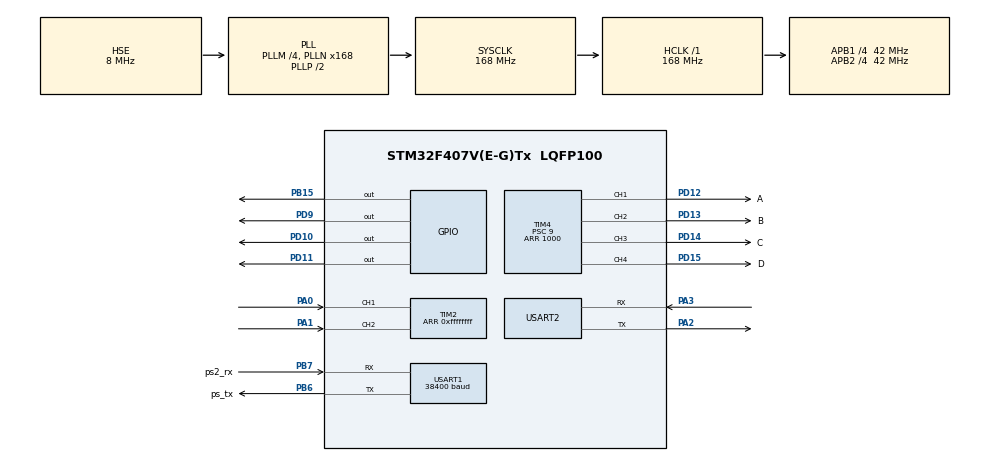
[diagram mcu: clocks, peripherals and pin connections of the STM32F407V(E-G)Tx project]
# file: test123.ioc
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Dma.Request0=USART2_RX
Dma.Request1=USART1_RX
Dma.USART1_RX.1.Direction=DMA_PERIPH_TO_MEMORY
Dma.USART1_RX.1.FIFOMode=DMA_FIFOMODE_DISABLE
Dma.USART1_RX.1.Instance=DMA2_Stream2
Dma.USART1_RX.1.MemDataAlignment=DMA_MDATAALIGN_BYTE
Dma.USART1_RX.1.MemInc=DMA_MINC_ENABLE
Dma.USART1_RX.1.Mode=DMA_CIRCULAR
Dma.USART1_RX.1.PeriphDataAlignment=DMA_PDATAALIGN_BYTE
Dma.USART1_RX.1.PeriphInc=DMA_PINC_DISABLE
Dma.USART1_RX.1.Priority=DMA_PRIORITY_LOW
Dma.USART2_RX.0.Direction=DMA_PERIPH_TO_MEMORY
Dma.USART2_RX.0.FIFOMode=DMA_FIFOMODE_DISABLE
Dma.USART2_RX.0.Instance=DMA1_Stream5
Dma.USART2_RX.0.MemDataAlignment=DMA_MDATAALIGN_BYTE
Dma.USART2_RX.0.MemInc=DMA_MINC_ENABLE
Dma.USART2_RX.0.Mode=DMA_CIRCULAR
Dma.USART2_RX.0.PeriphDataAlignment=DMA_PDATAALIGN_BYTE
Dma.USART2_RX.0.PeriphInc=DMA_PINC_DISABLE
Dma.USART2_RX.0.Priority=DMA_PRIORITY_LOW
Mcu.Family=STM32F4
Mcu.Name=STM32F407V(E-G)Tx
Mcu.Package=LQFP100
NVIC.DMA1_Stream5_IRQn=true\:0\:0\:false\:false\:true\:true
NVIC.DMA2_Stream2_IRQn=true\:0\:0\:false\:false\:true\:false
NVIC.PriorityGroup=NVIC_PRIORITYGROUP_4
NVIC.TIM6_DAC_IRQn=true\:0\:0\:false\:false\:true\:true
NVIC.USART1_IRQn=true\:0\:0\:false\:false\:true\:true
NVIC.USART2_IRQn=true\:0\:0\:false\:false\:true\:true
PA0-WKUP.GPIO_ModeDefaultPP=GPIO_MODE_AF_PP
PA0-WKUP.GPIO_PuPd=GPIO_PULLUP
PA0-WKUP.GPIO_Speed=GPIO_SPEED_FREQ_HIGH
PA0-WKUP.Signal=S_TIM2_CH1_ETR
PA1.GPIO_ModeDefaultPP=GPIO_MODE_AF_PP
PA1.GPIO_PuPd=GPIO_PULLUP
PA1.GPIO_Speed=GPIO_SPEED_FREQ_HIGH
PA1.Signal=S_TIM2_CH2
PA13.Mode=Serial_Wire
PA13.Signal=SYS_JTMS-SWDIO
PA14.Mode=Serial_Wire
PA14.Signal=SYS_JTCK-SWCLK
PA2.Mode=Asynchronous
PA2.Signal=USART2_TX
PA3.Mode=Asynchronous
PA3.Signal=USART2_RX
PB15.GPIO_ModeDefaultOutputPP=GPIO_MODE_OUTPUT_PP
PB15.GPIO_PuPd=GPIO_NOPULL
PB15.GPIO_Speed=GPIO_SPEED_FREQ_HIGH
PB15.PinState=GPIO_PIN_RESET
PB15.Signal=GPIO_Output
PB6.GPIO_Label=ps_tx
PB6.GPIO_Mode=GPIO_MODE_AF_PP
PB6.GPIO_PuPd=GPIO_PULLUP
PB6.GPIO_Speed=GPIO_SPEED_FREQ_VERY_HIGH
PB6.Mode=Asynchronous
PB6.Signal=USART1_TX
PB7.GPIO_Label=ps2_rx
PB7.GPIO_Mode=GPIO_MODE_AF_PP
PB7.GPIO_PuPd=GPIO_PULLUP
PB7.GPIO_Speed=GPIO_SPEED_FREQ_VERY_HIGH
PB7.Mode=Asynchronous
PB7.Signal=USART1_RX
PD10.GPIO_ModeDefaultOutputPP=GPIO_MODE_OUTPUT_PP
PD10.GPIO_PuPd=GPIO_NOPULL
PD10.GPIO_Speed=GPIO_SPEED_FREQ_HIGH
PD10.PinState=GPIO_PIN_RESET
PD10.Signal=GPIO_Output
PD11.GPIO_ModeDefaultOutputPP=GPIO_MODE_OUTPUT_PP
PD11.GPIO_PuPd=GPIO_NOPULL
PD11.GPIO_Speed=GPIO_SPEED_FREQ_HIGH
PD11.PinState=GPIO_PIN_RESET
PD11.Signal=GPIO_Output
PD12.GPIO_Label=A
PD12.GPIO_ModeDefaultPP=GPIO_MODE_AF_PP
PD12.GPIO_PuPd=GPIO_NOPULL
PD12.GPIO_Speed=GPIO_SPEED_FREQ_HIGH
PD12.Signal=S_TIM4_CH1
PD13.GPIO_Label=B
PD13.GPIO_ModeDefaultPP=GPIO_MODE_AF_PP
PD13.GPIO_PuPd=GPIO_NOPULL
PD13.GPIO_Speed=GPIO_SPEED_FREQ_HIGH
PD13.Signal=S_TIM4_CH2
PD14.GPIO_Label=C
PD14.GPIO_ModeDefaultPP=GPIO_MODE_AF_PP
PD14.GPIO_PuPd=GPIO_NOPULL
PD14.GPIO_Speed=GPIO_SPEED_FREQ_HIGH
PD14.Signal=S_TIM4_CH3
PD15.GPIO_Label=D
PD15.GPIO_ModeDefaultPP=GPIO_MODE_AF_PP
PD15.GPIO_PuPd=GPIO_NOPULL
PD15.GPIO_Speed=GPIO_SPEED_FREQ_HIGH
PD15.Signal=S_TIM4_CH4
PD9.GPIO_ModeDefaultOutputPP=GPIO_MODE_OUTPUT_PP
PD9.GPIO_PuPd=GPIO_NOPULL
PD9.GPIO_Speed=GPIO_SPEED_FREQ_HIGH
PD9.PinState=GPIO_PIN_RESET
PD9.Signal=GPIO_Output
PH0-OSC_IN.Mode=HSE-External-Oscillator
PH0-OSC_IN.Signal=RCC_OSC_IN
PH1-OSC_OUT.Mode=HSE-External-Oscillator
PH1-OSC_OUT.Signal=RCC_OSC_OUT
ProjectManager.HeapSize=0x200
ProjectManager.StackSize=0x400
ProjectManager.TargetToolchain=EWARM V7
RCC.48MHZClocksFreq_Value=84000000
RCC.AHBFreq_Value=168000000
RCC.APB1CLKDivider=RCC_HCLK_DIV4
RCC.APB1Freq_Value=42000000
RCC.APB1TimFreq_Value=84000000
RCC.APB2CLKDivider=RCC_HCLK_DIV4
RCC.APB2Freq_Value=42000000
RCC.APB2TimFreq_Value=84000000
RCC.CortexFreq_Value=168000000
RCC.HCLKFreq_Value=168000000
RCC.HSE_VALUE=8000000
RCC.HSI_VALUE=16000000
RCC.LSE_VALUE=8000
RCC.PLLM=4
RCC.PLLN=168
RCC.PLLSourceVirtual=RCC_PLLSOURCE_HSE
RCC.SYSCLKFreq_VALUE=168000000
RCC.SYSCLKSource=RCC_SYSCLKSOURCE_PLLCLK
RCC.VCOOutputFreq_Value=336000000
SH.S_TIM2_CH1_ETR.0=TIM2_CH1,Encoder_Interface
SH.S_TIM2_CH2.0=TIM2_CH2,Encoder_Interface
SH.S_TIM4_CH1.0=TIM4_CH1,PWM Generation1 CH1
SH.S_TIM4_CH2.0=TIM4_CH2,PWM Generation2 CH2
SH.S_TIM4_CH3.0=TIM4_CH3,PWM Generation3 CH3
SH.S_TIM4_CH4.0=TIM4_CH4,PWM Generation4 CH4
TIM2.EncoderMode=TIM_ENCODERMODE_TI12
TIM2.IC1Filter=5
TIM2.IC2Filter=5
TIM2.Period=0xffffffff
TIM4.Channel-PWM\ Generation1\ CH1=TIM_CHANNEL_1
TIM4.Channel-PWM\ Generation2\ CH2=TIM_CHANNEL_2
TIM4.Channel-PWM\ Generation3\ CH3=TIM_CHANNEL_3
TIM4.Channel-PWM\ Generation4\ CH4=TIM_CHANNEL_4
TIM4.Period=1000
TIM4.Prescaler=9
TIM6.Period=999
TIM6.Prescaler=84
USART1.BaudRate=38400
USART1.VirtualMode=VM_ASYNC
USART2.VirtualMode=VM_ASYNC
VP_TIM4_VS_ClockSourceINT.Mode=Internal
VP_TIM6_VS_ClockSourceINT.Mode=Enable_Timer
board=test123

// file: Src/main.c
/**
  ******************************************************************************
  * @file           : main.c
  * @brief          : Main program body
  ******************************************************************************
  ** This notice applies to any and all portions of this file
  * that are not between comment pairs USER CODE BEGIN and
  * USER CODE END. Other portions of this file, whether
  * inserted by the user or by software development tools
  * are owned by their respective copyright owners.
  *
  * COPYRIGHT(c) 2018 STMicroelectronics
  *
  * Redistribution and use in source and binary forms, with or without modification,
  * are permitted provided that the following conditions are met:
  *   1. Redistributions of source code must retain the above copyright notice,
  *      this list of conditions and the following disclaimer.
  *   2. Redistributions in binary form must reproduce the above copyright notice,
  *      this list of conditions and the following disclaimer in the documentation
  *      and/or other materials provided with the distribution.
  *   3. Neither the name of STMicroelectronics nor the names of its contributors
  *      may be used to endorse or promote products derived from this software
  *      without specific prior written permission.
  *
  * THIS SOFTWARE IS PROVIDED BY THE COPYRIGHT HOLDERS AND CONTRIBUTORS "AS IS"
  * AND ANY EXPRESS OR IMPLIED WARRANTIES, INCLUDING, BUT NOT LIMITED TO, THE
  * IMPLIED WARRANTIES OF MERCHANTABILITY AND FITNESS FOR A PARTICULAR PURPOSE ARE
  * DISCLAIMED. IN NO EVENT SHALL THE COPYRIGHT HOLDER OR CONTRIBUTORS BE LIABLE
  * FOR ANY DIRECT, INDIRECT, INCIDENTAL, SPECIAL, EXEMPLARY, OR CONSEQUENTIAL
  * DAMAGES (INCLUDING, BUT NOT LIMITED TO, PROCUREMENT OF SUBSTITUTE GOODS OR
  * SERVICES; LOSS OF USE, DATA, OR PROFITS; OR BUSINESS INTERRUPTION) HOWEVER
  * CAUSED AND ON ANY THEORY OF LIABILITY, WHETHER IN CONTRACT, STRICT LIABILITY,
  * OR TORT (INCLUDING NEGLIGENCE OR OTHERWISE) ARISING IN ANY WAY OUT OF THE USE
  * OF THIS SOFTWARE, EVEN IF ADVISED OF THE POSSIBILITY OF SUCH DAMAGE.
  *
  ******************************************************************************
  */
#include "main.h"
#include "stm32f4xx_hal.h"

/* USER CODE BEGIN Includes */

#include "robot_4_wheel.h"
#include "PS2.h"
extern robot_4_wheel robot;
extern PS2_stat ps2;
/* USER CODE END Includes */

TIM_HandleTypeDef htim2;
TIM_HandleTypeDef htim4;
TIM_HandleTypeDef htim6;

UART_HandleTypeDef huart1;
UART_HandleTypeDef huart2;
DMA_HandleTypeDef hdma_usart1_rx;
DMA_HandleTypeDef hdma_usart2_rx;

/* USER CODE BEGIN PV */
/* Private variables ---------------------------------------------------------*/
int16_t x;
/* USER CODE END PV */

void SystemClock_Config(void);
static void MX_GPIO_Init(void);
static void MX_DMA_Init(void);
static void MX_TIM2_Init(void);
static void MX_TIM4_Init(void);
static void MX_TIM6_Init(void);
static void MX_USART2_UART_Init(void);
static void MX_USART1_UART_Init(void);

void HAL_TIM_MspPostInit(TIM_HandleTypeDef *htim);

/* USER CODE BEGIN PFP */
/* Private function prototypes -----------------------------------------------*/

/* USER CODE END PFP */

int main(void)
{

  /* MCU Configuration----------------------------------------------------------*/

  /* Reset of all peripherals, Initializes the Flash interface and the Systick. */
  HAL_Init();

  /* Configure the system clock */
  SystemClock_Config();

  /* Initialize all configured peripherals */
  MX_GPIO_Init();
  MX_DMA_Init();
  MX_TIM2_Init();
  MX_TIM4_Init();
  MX_TIM6_Init();
  MX_USART2_UART_Init();
  MX_USART1_UART_Init();

  /* Infinite loop */
  while (1)
  {

  /* USER CODE BEGIN 3 */
//      A_DUONG;
//      PWM_A(20);
    if(ps2.LX==128 && ps2.LY==128 && ps2.RX==128 && ps2.RY==128)
    {
      robotStop();
    }

    if(ps2.LX <128)
    {
      robotRun(200,0,0.5,1);
    }
    if(ps2.LX >128)
    {
      robotRun(200,180,0.5,1);
    }
    if(ps2.LY <128)
    {
      robotRun(200,-900,0.5,1);
    }
    if(ps2.LX >128)
    {
      robotRun(200,900,0.5,1);
    }
    if(ps2.R1)
    {
      Rotateduong(100);
    }
    if(ps2.R2)
    {
      Rotateam(100);
    }

  /* USER CODE END 3 */

}
}

void Rotateduong(int16_t x) //cung chieu kim +
{
A_DUONG;
PWM_A(x);
B_DUONG;
PWM_B(x);
C_DUONG;
PWM_C(x);
D_DUONG;
PWM_D(x);
}

void Rotateam(int16_t y) //nguoc chieu kim -
{
A_AM;
PWM_A(y);
B_AM;
PWM_B(y);
C_AM;
PWM_C(y);
D_AM;
PWM_D(y);
}
void SystemClock_Config(void)
{

  RCC_OscInitTypeDef RCC_OscInitStruct;
  RCC_ClkInitTypeDef RCC_ClkInitStruct;

    /**Configure the main internal regulator output voltage
    */
  __HAL_RCC_PWR_CLK_ENABLE();

  __HAL_PWR_VOLTAGESCALING_CONFIG(PWR_REGULATOR_VOLTAGE_SCALE1);

    /**Initializes the CPU, AHB and APB busses clocks
    */
  RCC_OscInitStruct.OscillatorType = RCC_OSCILLATORTYPE_HSE;
  RCC_OscInitStruct.HSEState = RCC_HSE_ON;
  RCC_OscInitStruct.PLL.PLLState = RCC_PLL_ON;
  RCC_OscInitStruct.PLL.PLLSource = RCC_PLLSOURCE_HSE;
  RCC_OscInitStruct.PLL.PLLM = 4;
  RCC_OscInitStruct.PLL.PLLN = 168;
  RCC_OscInitStruct.PLL.PLLP = RCC_PLLP_DIV2;
  RCC_OscInitStruct.PLL.PLLQ = 4;
  if (HAL_RCC_OscConfig(&RCC_OscInitStruct) != HAL_OK)
  {
    _Error_Handler(__FILE__, __LINE__);
  }

    /**Initializes the CPU, AHB and APB busses clocks
    */
  RCC_ClkInitStruct.ClockType = RCC_CLOCKTYPE_HCLK|RCC_CLOCKTYPE_SYSCLK
                              |RCC_CLOCKTYPE_PCLK1|RCC_CLOCKTYPE_PCLK2;
  RCC_ClkInitStruct.SYSCLKSource = RCC_SYSCLKSOURCE_PLLCLK;
  RCC_ClkInitStruct.AHBCLKDivider = RCC_SYSCLK_DIV1;
  RCC_ClkInitStruct.APB1CLKDivider = RCC_HCLK_DIV4;
  RCC_ClkInitStruct.APB2CLKDivider = RCC_HCLK_DIV4;

  if (HAL_RCC_ClockConfig(&RCC_ClkInitStruct, FLASH_LATENCY_5) != HAL_OK)
  {
    _Error_Handler(__FILE__, __LINE__);
  }

    /**Configure the Systick interrupt time
    */
  HAL_SYSTICK_Config(HAL_RCC_GetHCLKFreq()/1000);

    /**Configure the Systick
    */
  HAL_SYSTICK_CLKSourceConfig(SYSTICK_CLKSOURCE_HCLK);

  /* SysTick_IRQn interrupt configuration */
  HAL_NVIC_SetPriority(SysTick_IRQn, 0, 0);
}

/* TIM2 init function */
static void MX_TIM2_Init(void)
{

  TIM_Encoder_InitTypeDef sConfig;
  TIM_MasterConfigTypeDef sMasterConfig;

  htim2.Instance = TIM2;
  htim2.Init.Prescaler = 0;
  htim2.Init.CounterMode = TIM_COUNTERMODE_UP;
  htim2.Init.Period = 0xffffffff;
  htim2.Init.ClockDivision = TIM_CLOCKDIVISION_DIV1;
  sConfig.EncoderMode = TIM_ENCODERMODE_TI12;
  sConfig.IC1Polarity = TIM_ICPOLARITY_RISING;
  sConfig.IC1Selection = TIM_ICSELECTION_DIRECTTI;
  sConfig.IC1Prescaler = TIM_ICPSC_DIV1;
  sConfig.IC1Filter = 5;
  sConfig.IC2Polarity = TIM_ICPOLARITY_RISING;
  sConfig.IC2Selection = TIM_ICSELECTION_DIRECTTI;
  sConfig.IC2Prescaler = TIM_ICPSC_DIV1;
  sConfig.IC2Filter = 5;
  if (HAL_TIM_Encoder_Init(&htim2, &sConfig) != HAL_OK)
  {
    _Error_Handler(__FILE__, __LINE__);
  }

  sMasterConfig.MasterOutputTrigger = TIM_TRGO_RESET;
  sMasterConfig.MasterSlaveMode = TIM_MASTERSLAVEMODE_DISABLE;
  if (HAL_TIMEx_MasterConfigSynchronization(&htim2, &sMasterConfig) != HAL_OK)
  {
    _Error_Handler(__FILE__, __LINE__);
  }

}

/* TIM4 init function */
static void MX_TIM4_Init(void)
{

  TIM_ClockConfigTypeDef sClockSourceConfig;
  TIM_MasterConfigTypeDef sMasterConfig;
  TIM_OC_InitTypeDef sConfigOC;

  htim4.Instance = TIM4;
  htim4.Init.Prescaler = 9;
  htim4.Init.CounterMode = TIM_COUNTERMODE_UP;
  htim4.Init.Period = 1000;
  htim4.Init.ClockDivision = TIM_CLOCKDIVISION_DIV1;
  if (HAL_TIM_Base_Init(&htim4) != HAL_OK)
  {
    _Error_Handler(__FILE__, __LINE__);
  }

  sClockSourceConfig.ClockSource = TIM_CLOCKSOURCE_INTERNAL;
  if (HAL_TIM_ConfigClockSource(&htim4, &sClockSourceConfig) != HAL_OK)
  {
    _Error_Handler(__FILE__, __LINE__);
  }

  if (HAL_TIM_PWM_Init(&htim4) != HAL_OK)
  {
    _Error_Handler(__FILE__, __LINE__);
  }

  sMasterConfig.MasterOutputTrigger = TIM_TRGO_RESET;
  sMasterConfig.MasterSlaveMode = TIM_MASTERSLAVEMODE_DISABLE;
  if (HAL_TIMEx_MasterConfigSynchronization(&htim4, &sMasterConfig) != HAL_OK)
  {
    _Error_Handler(__FILE__, __LINE__);
  }

  sConfigOC.OCMode = TIM_OCMODE_PWM1;
  sConfigOC.Pulse = 0;
  sConfigOC.OCPolarity = TIM_OCPOLARITY_HIGH;
  sConfigOC.OCFastMode = TIM_OCFAST_DISABLE;
  if (HAL_TIM_PWM_ConfigChannel(&htim4, &sConfigOC, TIM_CHANNEL_1) != HAL_OK)
  {
    _Error_Handler(__FILE__, __LINE__);
  }

  if (HAL_TIM_PWM_ConfigChannel(&htim4, &sConfigOC, TIM_CHANNEL_2) != HAL_OK)
  {
    _Error_Handler(__FILE__, __LINE__);
  }

  if (HAL_TIM_PWM_ConfigChannel(&htim4, &sConfigOC, TIM_CHANNEL_3) != HAL_OK)
  {
    _Error_Handler(__FILE__, __LINE__);
  }

  if (HAL_TIM_PWM_ConfigChannel(&htim4, &sConfigOC, TIM_CHANNEL_4) != HAL_OK)
  {
    _Error_Handler(__FILE__, __LINE__);
  }

  HAL_TIM_MspPostInit(&htim4);

}

/* TIM6 init function */
static void MX_TIM6_Init(void)
{

  TIM_MasterConfigTypeDef sMasterConfig;

  htim6.Instance = TIM6;
  htim6.Init.Prescaler = 84;
  htim6.Init.CounterMode = TIM_COUNTERMODE_UP;
  htim6.Init.Period = 999;
  if (HAL_TIM_Base_Init(&htim6) != HAL_OK)
  {
    _Error_Handler(__FILE__, __LINE__);
  }

  sMasterConfig.MasterOutputTrigger = TIM_TRGO_RESET;
  sMasterConfig.MasterSlaveMode = TIM_MASTERSLAVEMODE_DISABLE;
  if (HAL_TIMEx_MasterConfigSynchronization(&htim6, &sMasterConfig) != HAL_OK)
  {
    _Error_Handler(__FILE__, __LINE__);
  }

}

/* USART1 init function */
static void MX_USART1_UART_Init(void)
{

  huart1.Instance = USART1;
  huart1.Init.BaudRate = 38400;
  huart1.Init.WordLength = UART_WORDLENGTH_8B;
  huart1.Init.StopBits = UART_STOPBITS_1;
  huart1.Init.Parity = UART_PARITY_NONE;
  huart1.Init.Mode = UART_MODE_TX_RX;
  huart1.Init.HwFlowCtl = UART_HWCONTROL_NONE;
  huart1.Init.OverSampling = UART_OVERSAMPLING_16;
  if (HAL_UART_Init(&huart1) != HAL_OK)
  {
    _Error_Handler(__FILE__, __LINE__);
  }

}

/* USART2 init function */
static void MX_USART2_UART_Init(void)
{

  huart2.Instance = USART2;
  huart2.Init.BaudRate = 115200;
  huart2.Init.WordLength = UART_WORDLENGTH_8B;
  huart2.Init.StopBits = UART_STOPBITS_1;
  huart2.Init.Parity = UART_PARITY_NONE;
  huart2.Init.Mode = UART_MODE_TX_RX;
  huart2.Init.HwFlowCtl = UART_HWCONTROL_NONE;
  huart2.Init.OverSampling = UART_OVERSAMPLING_16;
  if (HAL_UART_Init(&huart2) != HAL_OK)
  {
    _Error_Handler(__FILE__, __LINE__);
  }

}

static void MX_DMA_Init(void)
{
  /* DMA controller clock enable */
  __HAL_RCC_DMA1_CLK_ENABLE();
  __HAL_RCC_DMA2_CLK_ENABLE();

  /* DMA interrupt init */
  /* DMA1_Stream5_IRQn interrupt configuration */
  HAL_NVIC_SetPriority(DMA1_Stream5_IRQn, 0, 0);
  HAL_NVIC_EnableIRQ(DMA1_Stream5_IRQn);
  /* DMA2_Stream2_IRQn interrupt configuration */
  HAL_NVIC_SetPriority(DMA2_Stream2_IRQn, 0, 0);
  HAL_NVIC_EnableIRQ(DMA2_Stream2_IRQn);

}

/** Configure pins as
        * Analog
        * Input
        * Output
        * EVENT_OUT
        * EXTI
*/
static void MX_GPIO_Init(void)
{

  GPIO_InitTypeDef GPIO_InitStruct;

  /* GPIO Ports Clock Enable */
  __HAL_RCC_GPIOH_CLK_ENABLE();
  __HAL_RCC_GPIOA_CLK_ENABLE();
  __HAL_RCC_GPIOB_CLK_ENABLE();
  __HAL_RCC_GPIOD_CLK_ENABLE();

  /*Configure GPIO pin Output Level */
  HAL_GPIO_WritePin(GPIOB, GPIO_PIN_15, GPIO_PIN_RESET);

  /*Configure GPIO pin Output Level */
  HAL_GPIO_WritePin(GPIOD, GPIO_PIN_9|GPIO_PIN_10|GPIO_PIN_11, GPIO_PIN_RESET);

  /*Configure GPIO pin : PB15 */
  GPIO_InitStruct.Pin = GPIO_PIN_15;
  GPIO_InitStruct.Mode = GPIO_MODE_OUTPUT_PP;
  GPIO_InitStruct.Pull = GPIO_NOPULL;
  GPIO_InitStruct.Speed = GPIO_SPEED_FREQ_HIGH;
  HAL_GPIO_Init(GPIOB, &GPIO_InitStruct);

  /*Configure GPIO pins : PD9 PD10 PD11 */
  GPIO_InitStruct.Pin = GPIO_PIN_9|GPIO_PIN_10|GPIO_PIN_11;
  GPIO_InitStruct.Mode = GPIO_MODE_OUTPUT_PP;
  GPIO_InitStruct.Pull = GPIO_NOPULL;
  GPIO_InitStruct.Speed = GPIO_SPEED_FREQ_HIGH;
  HAL_GPIO_Init(GPIOD, &GPIO_InitStruct);

}

void _Error_Handler(char *file, int line)
{
  while(1)
  {
  }
}

/************************ (C) COPYRIGHT STMicroelectronics *****END OF FILE****/
